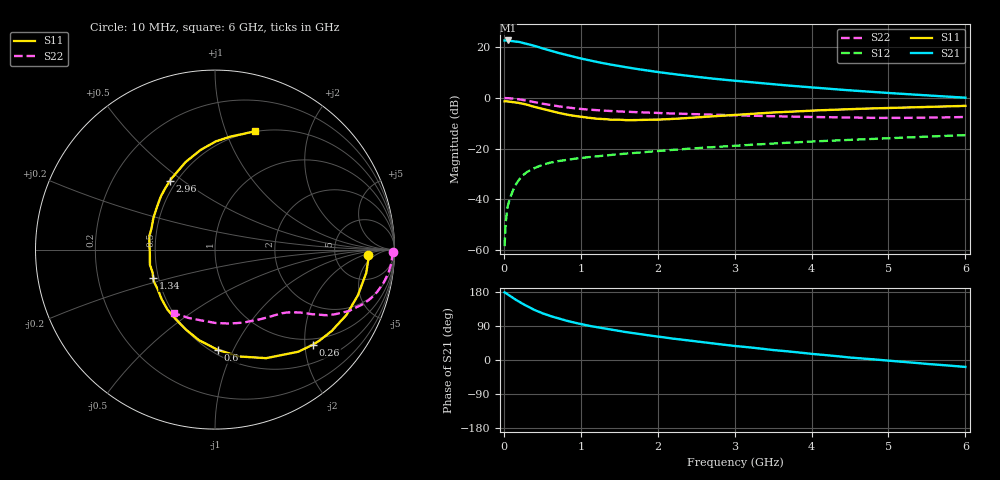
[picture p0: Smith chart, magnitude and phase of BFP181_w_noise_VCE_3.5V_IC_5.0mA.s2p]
! Infineon Technologies  Discrete & RF Semiconductors
! BFP181
! VCE = 3.5 V,  IC =  5.0 mA
! Common Emitter S-Parameters:  Jan 2016
# GHz  S  MA  R  50
!  f  S11  S21  S12  S22
! GHz  MAG  ANG  MAG  ANG  MAG  ANG  MAG  ANG
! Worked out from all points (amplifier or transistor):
!   210 points, 10 MHz to 6 GHz, reference 50 ohm
!   highest |S21| = 22.6 dB at 50 MHz (marker M1)
!   |S21| within 3 dB of that: start of sweep to 489.9 MHz
!   unconditionally stable (mu >= 1): 1.686 GHz to end of sweep
!   at 185 MHz: K = 0.17, MSG = 27.4 dB, |S12| = -32.8 dB
!   at 1.52 GHz: K = 0.94, MSG = 17.3 dB, |S12| = -22.1 dB
!   at 6 GHz: K = 1.05, MAG = 6.1 dB, |S12| = -14.7 dB
!   lowest NFmin = 1.55 dB at 450 MHz
!   S11 on the Smith chart (normalised r, x): 10 MHz: 12, -3; 260 MHz: 0.86, -2.17; 600 MHz: 0.54, -0.87; 1.34 GHz: 0.47, -0.17; 2.96 GHz: 0.46, +0.45; 6 GHz: 0.50, +1.27
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0.01  0.8549 -1.9  13.48 178.5  0.0012 91.6  0.992 -0.7
0.025  0.8551 -4.5  13.48 176.8  0.0035 92.3  0.9879 -1.8
0.05  0.8525 -8.8  13.5 173.1  0.0073 90.2  0.9866 -3.9
0.165  0.8084 -29.0  12.84 157.8  0.0207 73.8  0.95 -12.2
0.2  0.7927 -34.9  12.62 153.4  0.0246 71.5  0.9346 -14.5
0.26  0.7603 -44.2  11.92 146.6  0.0309 67.2  0.9023 -18.1
0.3  0.7347 -50.7  11.57 142.4  0.0346 64.4  0.8802 -20.1
0.4  0.6684 -64.8  10.56 131.9  0.0416 58.2  0.8214 -24.6
0.5  0.6099 -77.4  9.455 123.4  0.0477 53.2  0.7685 -27.8
0.6  0.5592 -88.3  8.605 116.3  0.0529 50.2  0.7248 -30.3
0.7  0.5131 -99.9  7.737 110.0  0.0564 47.5  0.6853 -32.0
0.8  0.475 -109.7  7.111 104.3  0.0598 45.1  0.6546 -33.4
1.02  0.4216 -130.1  5.879 94.0  0.0658 42.4  0.6013 -35.8
1.12  0.4017 -138.7  5.467 89.8  0.0685 41.3  0.584 -36.8
1.34  0.3782 -155.5  4.664 82.0  0.0737 39.9  0.5558 -39.0
1.68  0.3643 -179.8  3.807 70.8  0.0818 38.9  0.5239 -42.3
2.02  0.3734 161.3  3.197 61.3  0.0902 37.8  0.502 -46.1
2.96  0.458 123.3  2.204 38.0  0.1128 34.0  0.4549 -59.5
3.1  0.471 119.1  2.105 35.2  0.1163 33.2  0.4488 -61.8
4.1  0.5684 96.4  1.563 14.5  0.1402 27.4  0.4168 -80.7
5.1  0.6387 81.4  1.22 -3.4  0.1621 21.7  0.4023 -102.6
6  0.6951 71.4  1.008 -18.3  0.1843 15.7  0.4204 -122.8
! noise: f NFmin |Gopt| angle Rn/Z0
0.45  1.55  0.48  17  0.36
0.9  1.65  0.4  35  0.34
1.8  2  0.18  88  0.34
